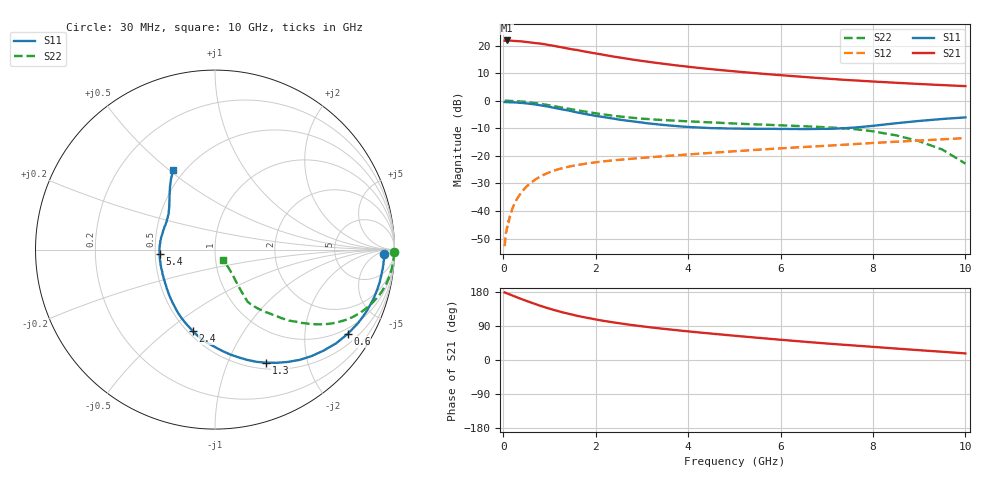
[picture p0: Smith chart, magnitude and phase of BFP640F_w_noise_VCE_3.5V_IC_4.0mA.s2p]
! Infineon Technologies  Discrete & RF Semiconductors
! BFP640F
! VCE =  3.5 V,  IC =  4.0 mA
! Common Emitter S-Parameters:  Apr 2013
# GHz  S  MA  R  50
!  f  S11  S21  S12  S22
! GHz  MAG  ANG  MAG  ANG  MAG  ANG  MAG  ANG
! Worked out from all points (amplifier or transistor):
!   99 points, 30 MHz to 10 GHz, reference 50 ohm
!   highest |S21| = 21.9 dB at 80 MHz (marker M1)
!   |S21| within 3 dB of that: start of sweep to 1.421 GHz
!   unconditionally stable (mu >= 1): 4.523 GHz to end of sweep
!   at 350 MHz: K = 0.08, MSG = 27.9 dB, |S12| = -34.3 dB
!   at 3.5 GHz: K = 0.89, MSG = 16.7 dB, |S12| = -20.1 dB
!   at 10 GHz: K = 1.13, MAG = 7.3 dB, |S12| = -13.6 dB
!   lowest NFmin = 0.49 dB at 450 MHz
!   S11 on the Smith chart (normalised r, x): 30 MHz: 28, -14; 600 MHz: 0.81, -3.25; 1.3 GHz: 0.57, -1.38; 2.4 GHz: 0.53, -0.62; 5.4 GHz: 0.53, -0.03; 10 GHz: 0.44, +0.51
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0.03  0.9443 -1.6  12.29 178.3  0.0023 87.4  0.9967 -0.8
0.04  0.9439 -2.2  12.19 177.9  0.0027 87.3  0.9962 -1.2
0.05  0.9439 -2.8  12.36 177.5  0.0035 89.5  0.9964 -1.6
0.08  0.941 -4.5  12.39 175.9  0.005 80.2  0.9969 -2.5
0.14  0.9387 -7.8  12.35 173.0  0.008 84.7  0.9941 -4.4
0.4  0.9119 -22.0  11.92 160.6  0.0221 79.3  0.9657 -12.6
0.6  0.8755 -32.5  11.38 151.7  0.0324 74.4  0.9279 -18.4
0.8  0.8264 -42.9  10.9 143.1  0.0421 68.9  0.8806 -23.7
0.9  0.801 -47.8  10.55 139.3  0.0464 66.6  0.8532 -26.2
1.1  0.7449 -57.2  9.893 131.9  0.0541 61.9  0.7973 -30.4
1.3  0.6907 -65.8  9.191 125.3  0.0604 58.1  0.7444 -33.9
1.7  0.5913 -81.6  7.99 114.1  0.0703 52.6  0.6492 -39.2
2.1  0.5162 -96.0  6.972 104.8  0.0782 48.2  0.5749 -43.6
2.4  0.4718 -105.1  6.297 99.0  0.0832 46.3  0.5317 -45.9
2.9  0.4121 -119.2  5.424 90.5  0.0904 44.0  0.4822 -48.6
3.4  0.3679 -132.1  4.758 83.2  0.0974 42.5  0.4485 -50.9
4.1  0.3304 -148.3  4.052 74.4  0.1073 40.9  0.4195 -53.0
5.1  0.312 -169.9  3.354 63.0  0.1226 38.8  0.3837 -55.4
5.4  0.3099 -175.8  3.193 59.8  0.1274 38.2  0.374 -56.0
6.7  0.3073 159.4  2.626 46.4  0.1477 34.8  0.3389 -58.0
8.5  0.3903 130.5  2.117 30.2  0.1804 29.6  0.2354 -57.2
10  0.4984 117.8  1.84 17.4  0.2101 23.8  0.0724 -51.9
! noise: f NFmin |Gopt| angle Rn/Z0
0.45  0.49  0.47  8  0.17
0.9  0.54  0.47  21  0.17
1.5  0.58  0.47  31  0.17
1.9  0.61  0.44  44  0.17
2.4  0.67  0.4  59  0.17
3.5  0.76  0.3  79  0.18
5.5  1.02  0.24  148  0.19
10  1.8  0.46  -106  0.37
